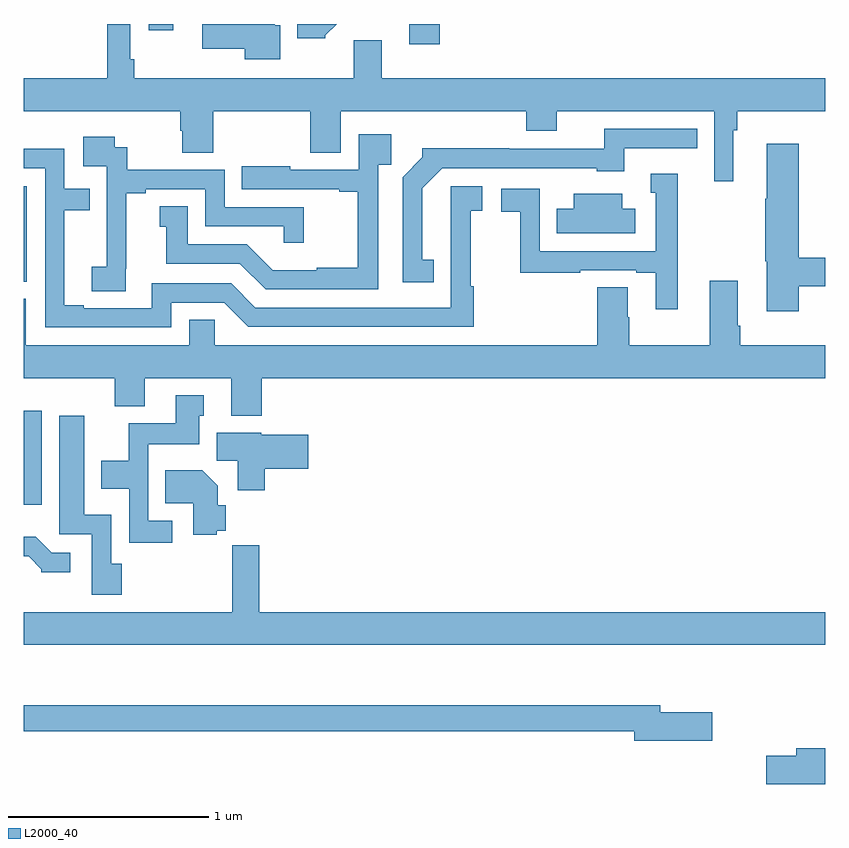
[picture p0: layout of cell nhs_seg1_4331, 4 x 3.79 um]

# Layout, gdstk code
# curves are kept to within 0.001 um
import gdstk
lib = gdstk.Library(unit=1e-6, precision=1e-09)
def R(c, l, rs):  # rectangles x0, y0, x1, y1
    for r in rs: c.add(gdstk.rectangle(r[:2], r[2:], *l))
def P(c, l, *ps):  # polygons
    for p in ps: c.add(gdstk.Polygon(p, *l))
L2000_40 = (2000, 40)

nhs_seg1_4331 = lib.new_cell('nhs_seg1_4331')
R(nhs_seg1_4331, L2000_40, [(347,517.8,347.089,518.269), (347,518.913,347.016,519.39), (348.923,520.097,349.076,520.199), (347.624,520.167,347.746,520.199)])
P(nhs_seg1_4331, L2000_40, [(348.504,520.142),(348.561,520.199),(348.365,520.199),(348.365,520.127),(348.504,520.127)],
  [(348.28,520.194),(348.252,520.194),(348.252,520.199),(348.156,520.199),(348.156,520.198),(347.892,520.198),(347.892,520.076),(348.104,520.076),(348.104,520.022),(348.28,520.022)],
  [(350.542,519.668),(350.561,519.668),(350.561,519.764),(351,519.764),(351,519.928),(348.787,519.928),(348.787,520.118),(348.647,520.118),(348.647,519.928),(347.552,519.928),(347.552,520.024),(347.532,520.024),(347.532,520.199),(347.416,520.199),(347.416,519.928),(347,519.928),(347,519.764),(347.78,519.764),(347.78,519.666),(347.792,519.666),(347.792,519.556),(347.945,519.556),(347.945,519.764),(348.431,519.764),(348.431,519.556),(348.583,519.556),(348.583,519.764),(349.508,519.764),(349.508,519.665),(349.66,519.665),(349.66,519.764),(350.445,519.764),(350.445,519.414),(350.542,519.414)],
  [(349.046,519.023),(348.988,519.023),(348.988,519.379),(349.089,519.48),(349.86,519.48),(349.86,519.464),(349.996,519.464),(349.996,519.579),(350.36,519.579),(350.36,519.675),(349.897,519.675),(349.897,519.576),(349.424,519.576),(349.424,519.578),(348.99,519.578),(348.99,519.533),(348.891,519.434),(348.891,518.91),(349.046,518.91)],
  [(348.768,519.497),(348.833,519.497),(348.833,519.649),(348.672,519.649),(348.672,519.471),(348.331,519.471),(348.331,519.49),(348.088,519.49),(348.088,519.375),(348.575,519.375),(348.575,519.363),(348.667,519.363),(348.667,518.983),(348.461,518.983),(348.461,518.971),(348.242,518.971),(348.114,519.099),(347.818,519.099),(347.818,519.29),(347.678,519.29),(347.678,519.187),(347.711,519.187),(347.711,519.003),(348.078,519.003),(348.207,518.874),(348.768,518.874)],
  [(347.51,518.977),(347.512,518.977),(347.512,519.355),(347.608,519.355),(347.608,519.375),(347.907,519.375),(347.907,519.189),(348.297,519.189),(348.297,519.108),(348.398,519.108),(348.398,519.285),(348.003,519.285),(348.003,519.471),(347.516,519.471),(347.516,519.585),(347.454,519.585),(347.454,519.637),(347.298,519.637),(347.298,519.489),(347.415,519.489),(347.415,519.185),(347.414,519.185),(347.414,518.988),(347.34,518.988),(347.34,518.866),(347.51,518.866)],
  [(350.867,518.89),(351,518.89),(351,519.032),(350.867,519.032),(350.867,519.601),(350.708,519.601),(350.708,519.326),(350.701,519.326),(350.701,519.015),(350.708,519.015),(350.708,518.766),(350.867,518.766)],
  [(347.736,518.808),(348,518.808),(348.12,518.688),(349.247,518.688),(349.247,518.891),(349.23,518.891),(349.23,519.267),(349.288,519.267),(349.288,519.388),(349.13,519.388),(349.131,518.784),(348.156,518.784),(348.036,518.904),(347.64,518.904),(347.64,518.781),(347.299,518.781),(347.299,518.796),(347.203,518.796),(347.203,519.27),(347.33,519.27),(347.33,519.378),(347.202,519.378),(347.202,519.576),(347,519.576),(347,519.48),(347.106,519.48),(347.106,518.685),(347.736,518.685)],
  [(350.263,519.451),(350.129,519.451),(350.129,519.357),(350.154,519.357),(350.154,519.066),(349.575,519.066),(349.575,519.378),(349.383,519.378),(349.383,519.262),(349.477,519.262),(349.477,518.958),(349.778,518.958),(349.778,518.97),(350.057,518.97),(350.057,518.958),(350.153,518.958),(350.153,518.775),(350.263,518.775)],
  [(350.053,519.277),(349.987,519.277),(349.987,519.352),(349.745,519.352),(349.745,519.277),(349.66,519.277),(349.66,519.155),(350.053,519.155)],
  [(348.188,518.432),(351,518.432),(351,518.596),(350.576,518.596),(350.576,518.692),(350.563,518.692),(350.563,518.917),(350.423,518.917),(350.423,518.596),(350.022,518.596),(350.022,518.735),(350.014,518.735),(350.014,518.885),(349.862,518.885),(349.862,518.596),(347.952,518.596),(347.952,518.723),(347.825,518.723),(347.825,518.596),(347.011,518.596),(347.011,518.828),(347,518.828),(347,518.432),(347.453,518.432),(347.453,518.291),(347.605,518.291),(347.605,518.432),(348.035,518.432),(348.035,518.243),(348.188,518.243)],
  [(347.74,517.719),(347.622,517.719),(347.622,518.102),(347.875,518.102),(347.875,518.244),(347.899,518.244),(347.899,518.347),(347.759,518.347),(347.759,518.206),(347.524,518.206),(347.524,518.02),(347.387,518.02),(347.387,517.88),(347.526,517.88),(347.526,517.611),(347.74,517.611)],
  [(347.489,517.506),(347.436,517.506),(347.436,517.75),(347.302,517.75),(347.302,518.245),(347.177,518.245),(347.177,517.653),(347.34,517.653),(347.34,517.35),(347.489,517.35)],
  [(348.203,517.979),(348.421,517.979),(348.421,518.149),(348.186,518.149),(348.186,518.158),(347.963,518.158),(347.963,518.02),(348.068,518.02),(348.068,517.871),(348.203,517.871)],
  [(347.964,517.67),(348.007,517.67),(348.007,517.798),(347.968,517.798),(347.968,517.894),(347.89,517.972),(347.707,517.972),(347.707,517.808),(347.846,517.808),(347.846,517.651),(347.964,517.651)],
  [(347.233,517.56),(347.139,517.56),(347.061,517.639),(347,517.639),(347,517.542),(347.024,517.542),(347.088,517.478),(347.088,517.463),(347.233,517.463)],
  [(351,517.264),(348.176,517.264),(348.176,517.597),(348.041,517.597),(348.041,517.484),(348.04,517.484),(348.04,517.264),(347,517.264),(347,517.1),(351,517.1)],
  [(350.437,516.765),(350.176,516.765),(350.176,516.799),(347,516.799),(347,516.67),(350.048,516.67),(350.048,516.623),(350.437,516.623)],
  [(351,516.584),(350.855,516.584),(350.855,516.548),(350.706,516.548),(350.706,516.406),(351,516.406)])

lib.write_gds('nhs_seg1_4331.gds')
